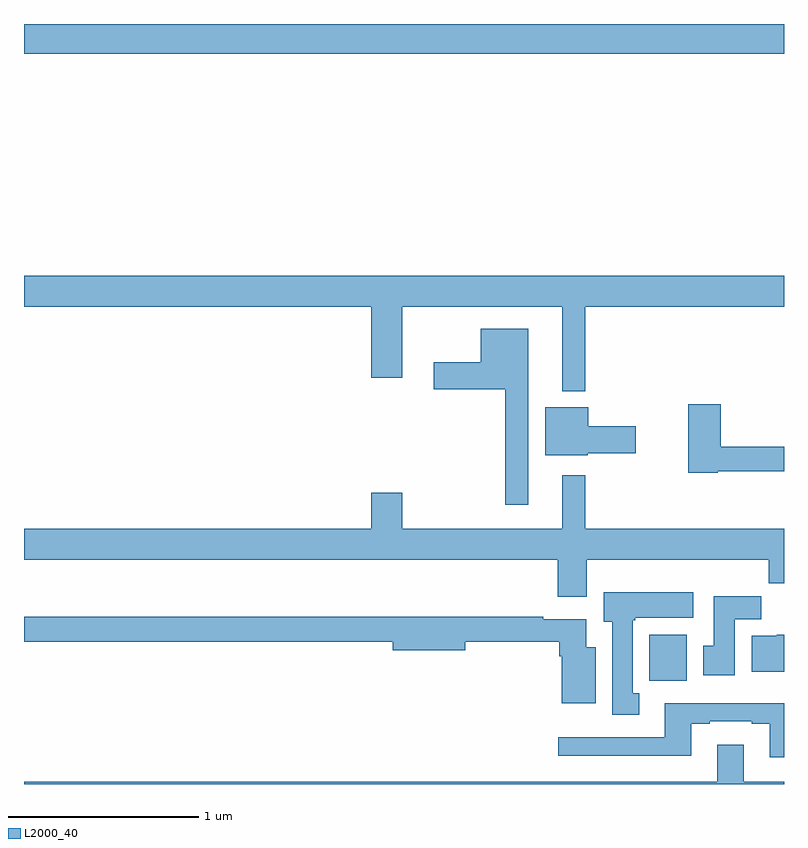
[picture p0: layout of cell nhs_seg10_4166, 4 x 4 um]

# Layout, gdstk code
import gdstk
lib = gdstk.Library(unit=1e-6, precision=1e-09)
def R(c, l, rs):  # rectangles x0, y0, x1, y1
    for r in rs: c.add(gdstk.rectangle(r[:2], r[2:], *l))
def P(c, l, *ps):  # polygons
    for p in ps: c.add(gdstk.Polygon(p, *l))
L2000_40 = (2000, 40)

nhs_seg10_4166 = lib.new_cell('nhs_seg10_4166')
R(nhs_seg10_4166, L2000_40, [(346.292,1269.044,346.489,1269.286), (343,1272.344,347,1272.5)])
P(nhs_seg10_4166, L2000_40, [(345.955,1271.012),(347,1271.012),(347,1271.176),(343,1271.176),(343,1271.012),(344.828,1271.012),(344.828,1270.638),(344.992,1270.638),(344.992,1271.012),(345.833,1271.012),(345.833,1270.568),(345.955,1270.568)],
  [(345.655,1270.897),(345.404,1270.897),(345.404,1270.719),(345.156,1270.719),(345.156,1270.577),(345.534,1270.577),(345.534,1269.969),(345.655,1269.969)],
  [(346.65,1270.146),(347,1270.146),(347,1270.274),(346.667,1270.274),(346.667,1270.498),(346.496,1270.498),(346.496,1270.138),(346.65,1270.138)],
  [(345.966,1270.24),(346.219,1270.24),(346.219,1270.382),(345.97,1270.382),(345.97,1270.483),(345.743,1270.483),(345.743,1270.229),(345.966,1270.229)],
  [(345.961,1269.68),(346.921,1269.68),(346.921,1269.556),(347,1269.556),(347,1269.844),(345.955,1269.844),(345.955,1270.126),(345.833,1270.126),(345.833,1269.844),(344.992,1269.844),(344.992,1270.033),(344.828,1270.033),(344.828,1269.844),(343,1269.844),(343,1269.68),(345.809,1269.68),(345.809,1269.486),(345.961,1269.486)],
  [(346.237,1268.978),(346.204,1268.978),(346.204,1269.361),(346.218,1269.361),(346.218,1269.374),(346.522,1269.374),(346.522,1269.508),(346.052,1269.508),(346.052,1269.354),(346.097,1269.354),(346.097,1268.865),(346.237,1268.865)],
  [(346.741,1269.368),(346.88,1269.368),(346.88,1269.487),(346.631,1269.487),(346.631,1269.228),(346.574,1269.228),(346.574,1269.072),(346.741,1269.072)],
  [(346.009,1269.22),(345.958,1269.22),(345.958,1269.366),(345.734,1269.366),(345.734,1269.379),(343,1269.379),(343,1269.25),(344.942,1269.25),(344.942,1269.203),(345.322,1269.203),(345.322,1269.25),(345.818,1269.25),(345.818,1269.173),(345.83,1269.173),(345.83,1268.924),(346.009,1268.924)],
  [(347,1269.286),(346.962,1269.286),(346.962,1269.28),(346.829,1269.28),(346.829,1269.092),(347,1269.092)],
  [(347,1268.926),(346.373,1268.926),(346.373,1268.745),(345.813,1268.745),(345.813,1268.648),(346.513,1268.648),(346.513,1268.817),(346.609,1268.817),(346.609,1268.829),(346.829,1268.829),(346.829,1268.817),(346.925,1268.817),(346.925,1268.64),(347,1268.64)],
  [(347,1268.512),(346.789,1268.512),(346.789,1268.707),(346.649,1268.707),(346.649,1268.512),(343,1268.512),(343,1268.5),(347,1268.5)])

lib.write_gds('nhs_seg10_4166.gds')
